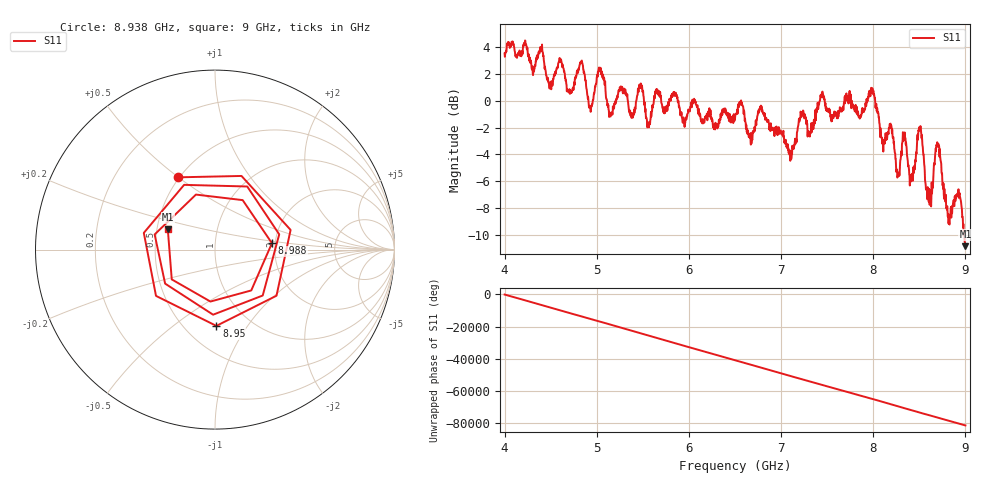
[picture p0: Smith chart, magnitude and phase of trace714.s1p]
! Created with skrf 1.8.0 (http://scikit-rf.org).
# Hz S RI R 50.0
!freq ReS11 ImS11
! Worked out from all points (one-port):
!   1601 points, 4 GHz to 9 GHz, reference 50 ohm
!   lowest |S11| = -10.9 dB at 9 GHz (marker M1), VSWR 1.80, Z = 28.5 + j7.04 ohm
!   |S11| at or under -10 dB: 8.983881 GHz to 8.984409 GHz (527.6 kHz wide, 0.00587 % of centre); 8.988586 GHz to end of sweep
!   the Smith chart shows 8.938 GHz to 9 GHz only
!   S11 on the Smith chart (normalised r, x): 8.938 GHz: 0.49, +0.50; 8.95 GHz: 0.70, -0.73; 8.988 GHz: 1.92, +0.15; 9 GHz: 0.57, +0.14
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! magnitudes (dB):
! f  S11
! 4 GHz  3.5
! 4.625 GHz  2.5
! 4.709 GHz  0.5
! 4.838 GHz  3.0
! 4.934 GHz  -0.8
! 5.028 GHz  2.4
! 5.147 GHz  -1.2
! 5.25 GHz  1.0
! 5.384 GHz  -1.0
! 5.481 GHz  1.0
! 5.559 GHz  -1.9
! 5.875 GHz  0.3
! 6.5 GHz  -1.4
! 7.125 GHz  -3.6
! 7.441 GHz  0.5
! 7.75 GHz  0.2
! 7.988 GHz  0.9
! 8.262 GHz  -5.7
! 8.375 GHz  -4.5
! 8.422 GHz  -5.5
! 8.506 GHz  -2.0
! 8.606 GHz  -6.6
! 8.697 GHz  -3.2
! 8.812 GHz  -8.5
! 8.938 GHz  -6.9
! 8.95 GHz  -7.4
! 8.988 GHz  -9.9
! 9 GHz  -10.9
